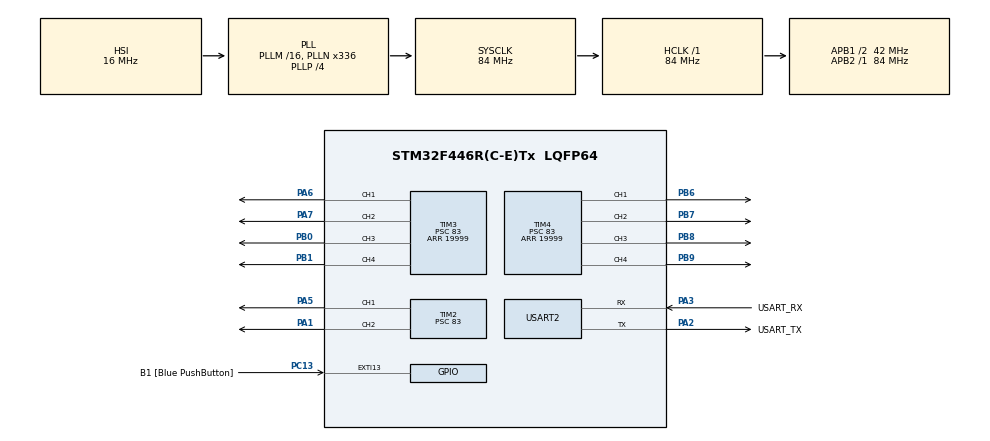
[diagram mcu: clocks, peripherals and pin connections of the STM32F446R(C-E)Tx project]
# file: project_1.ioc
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Dma.Request0=USART2_RX
Dma.USART2_RX.0.Direction=DMA_PERIPH_TO_MEMORY
Dma.USART2_RX.0.FIFOMode=DMA_FIFOMODE_DISABLE
Dma.USART2_RX.0.Instance=DMA1_Stream5
Dma.USART2_RX.0.MemDataAlignment=DMA_MDATAALIGN_BYTE
Dma.USART2_RX.0.MemInc=DMA_MINC_ENABLE
Dma.USART2_RX.0.Mode=DMA_NORMAL
Dma.USART2_RX.0.PeriphDataAlignment=DMA_PDATAALIGN_BYTE
Dma.USART2_RX.0.PeriphInc=DMA_PINC_DISABLE
Dma.USART2_RX.0.Priority=DMA_PRIORITY_HIGH
Mcu.Family=STM32F4
Mcu.Name=STM32F446R(C-E)Tx
Mcu.Package=LQFP64
NVIC.DMA1_Stream5_IRQn=true\:0\:0\:false\:false\:true\:false\:true\:true
NVIC.EXTI15_10_IRQn=true\:0\:0\:false\:false\:true\:true\:true\:true
NVIC.PriorityGroup=NVIC_PRIORITYGROUP_0
NVIC.USART2_IRQn=true\:0\:0\:false\:false\:true\:true\:true\:true
PA1.Signal=S_TIM2_CH2
PA13.GPIO_Label=TMS
PA13.Signal=SYS_JTMS-SWDIO
PA14.GPIO_Label=TCK
PA14.Signal=SYS_JTCK-SWCLK
PA2.GPIO_Label=USART_TX
PA2.Mode=Asynchronous
PA2.Signal=USART2_TX
PA3.GPIO_Label=USART_RX
PA3.Mode=Asynchronous
PA3.Signal=USART2_RX
PA5.Signal=S_TIM2_CH1_ETR
PA6.Signal=S_TIM3_CH1
PA7.Signal=S_TIM3_CH2
PB0.Signal=S_TIM3_CH3
PB1.Signal=S_TIM3_CH4
PB6.Signal=S_TIM4_CH1
PB7.Signal=S_TIM4_CH2
PB8.Signal=S_TIM4_CH3
PB9.Signal=S_TIM4_CH4
PC13.GPIO_Label=B1 [Blue PushButton]
PC13.GPIO_ModeDefaultEXTI=GPIO_MODE_IT_FALLING
PC13.Signal=GPXTI13
PC14-OSC32_IN.Signal=RCC_OSC32_IN
PC15-OSC32_OUT.Signal=RCC_OSC32_OUT
PH0-OSC_IN.Signal=RCC_OSC_IN
PH1-OSC_OUT.Signal=RCC_OSC_OUT
ProjectManager.HeapSize=0x200
ProjectManager.StackSize=0x400
ProjectManager.TargetToolchain=CMake
RCC.AHBFreq_Value=84000000
RCC.APB1CLKDivider=RCC_HCLK_DIV2
RCC.APB1Freq_Value=42000000
RCC.APB1TimFreq_Value=84000000
RCC.APB2Freq_Value=84000000
RCC.APB2TimFreq_Value=84000000
RCC.CortexFreq_Value=84000000
RCC.FLatency-AdvancedSettings=FLASH_LATENCY_2
RCC.HCLKFreq_Value=84000000
RCC.HSE_VALUE=8000000
RCC.HSI_VALUE=16000000
RCC.LSE_VALUE=32768
RCC.PLLN=336
RCC.PLLP=RCC_PLLP_DIV4
RCC.SYSCLKFreq_VALUE=84000000
RCC.SYSCLKSource=RCC_SYSCLKSOURCE_PLLCLK
RCC.USBFreq_Value=168000000
RCC.VCOOutputFreq_Value=336000000
SH.S_TIM2_CH1_ETR.0=TIM2_CH1,PWM Generation1 CH1
SH.S_TIM2_CH2.0=TIM2_CH2,PWM Generation2 CH2
SH.S_TIM3_CH1.0=TIM3_CH1,PWM Generation1 CH1
SH.S_TIM3_CH2.0=TIM3_CH2,PWM Generation2 CH2
SH.S_TIM3_CH3.0=TIM3_CH3,PWM Generation3 CH3
SH.S_TIM3_CH4.0=TIM3_CH4,PWM Generation4 CH4
SH.S_TIM4_CH1.0=TIM4_CH1,PWM Generation1 CH1
SH.S_TIM4_CH2.0=TIM4_CH2,PWM Generation2 CH2
SH.S_TIM4_CH3.0=TIM4_CH3,PWM Generation3 CH3
SH.S_TIM4_CH4.0=TIM4_CH4,PWM Generation4 CH4
TIM2.Channel-PWM\ Generation1\ CH1=TIM_CHANNEL_1
TIM2.Channel-PWM\ Generation2\ CH2=TIM_CHANNEL_2
TIM2.Period=19999
TIM2.Prescaler=83
TIM3.Channel-PWM\ Generation1\ CH1=TIM_CHANNEL_1
TIM3.Channel-PWM\ Generation2\ CH2=TIM_CHANNEL_2
TIM3.Channel-PWM\ Generation3\ CH3=TIM_CHANNEL_3
TIM3.Channel-PWM\ Generation4\ CH4=TIM_CHANNEL_4
TIM3.Period=19999
TIM3.Prescaler=83
TIM4.Channel-PWM\ Generation1\ CH1=TIM_CHANNEL_1
TIM4.Channel-PWM\ Generation2\ CH2=TIM_CHANNEL_2
TIM4.Channel-PWM\ Generation3\ CH3=TIM_CHANNEL_3
TIM4.Channel-PWM\ Generation4\ CH4=TIM_CHANNEL_4
TIM4.Period=19999
TIM4.Prescaler=83
USART2.VirtualMode=VM_ASYNC
VP_TIM2_VS_ClockSourceINT.Mode=Internal
VP_TIM3_VS_ClockSourceINT.Mode=Internal
VP_TIM4_VS_ClockSourceINT.Mode=Internal
board=NUCLEO-F446RE

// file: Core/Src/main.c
/* USER CODE BEGIN Header */
/**
  ******************************************************************************
  * @file           : main.c
  * @brief          : Main program body
  ******************************************************************************
  * @attention
  *
  * Copyright (c) 2026 STMicroelectronics.
  * All rights reserved.
  *
  * This software is licensed under terms that can be found in the LICENSE file
  * in the root directory of this software component.
  * If no LICENSE file comes with this software, it is provided AS-IS.
  *
  ******************************************************************************
  */
/* USER CODE END Header */
#include "main.h"

/* USER CODE BEGIN Includes */
#include <stdint.h>
#include <string.h>
#include <stdio.h>
/* USER CODE END Includes */

/* USER CODE BEGIN PTD */
typedef struct {
  TIM_HandleTypeDef *htim;
  uint32_t channel;
  const char *pin_label;
} pwm_output_t;
/* USER CODE END PTD */

/* USER CODE BEGIN PD */
#define NUM_JOINTS 2
#define MAX_JOINTS 10
#define MIN_CCR 0
#define MAX_CCR 5000
#define PAYLOAD_SIZE (NUM_JOINTS * sizeof(float))
#define PACKET_SIZE  (2 + PAYLOAD_SIZE)

#define PI       3.14159265f
#define HALF_PI  1.57079633f
/* USER CODE END PD */

TIM_HandleTypeDef htim2;
TIM_HandleTypeDef htim3;
TIM_HandleTypeDef htim4;

UART_HandleTypeDef huart2;
DMA_HandleTypeDef hdma_usart2_rx;

/* USER CODE BEGIN PV */
static uint8_t  rx_packet[PACKET_SIZE];
static float    joint_angles[NUM_JOINTS];
// static uint32_t joint_ccr[NUM_JOINTS];
static volatile uint8_t packet_ready = 0;
static volatile uint32_t packet_count = 0;
static volatile uint32_t sync_error_count = 0;

static const pwm_output_t joint_pwm[MAX_JOINTS] = {
  { &htim2, TIM_CHANNEL_1, "PA5 (LD2 debug)" },
  { &htim2, TIM_CHANNEL_2, "PA1 (Arduino A1)" },
  { &htim3, TIM_CHANNEL_1, "PA6 (Arduino D12)" },
  { &htim3, TIM_CHANNEL_2, "PA7 (Arduino D11)" },
  { &htim3, TIM_CHANNEL_3, "PB0 (Arduino A3)" },
  { &htim3, TIM_CHANNEL_4, "PB1" },
  { &htim4, TIM_CHANNEL_1, "PB6 (Arduino D10)" },
  { &htim4, TIM_CHANNEL_2, "PB7" },
  { &htim4, TIM_CHANNEL_3, "PB8 (Arduino D15)" },
  { &htim4, TIM_CHANNEL_4, "PB9 (Arduino D14)" },
};
/* USER CODE END PV */

void SystemClock_Config(void);
static void MX_GPIO_Init(void);
static void MX_DMA_Init(void);
static void MX_USART2_UART_Init(void);
static void MX_TIM2_Init(void);
static void MX_TIM3_Init(void);
static void MX_TIM4_Init(void);
/* USER CODE BEGIN PFP */
static uint8_t  verify_packet(const uint8_t *packet);
static void handle_packet(void);
static inline void joint_action(void);
static inline uint32_t radian_ccr(float radian);
/* USER CODE END PFP */

int main(void)
{

  /* MCU Configuration--------------------------------------------------------*/

  /* Reset of all peripherals, Initializes the Flash interface and the Systick. */
  HAL_Init();

  /* Configure the system clock */
  SystemClock_Config();

  /* Initialize all configured peripherals */
  MX_GPIO_Init();
  MX_DMA_Init();
  MX_USART2_UART_Init();
  MX_TIM2_Init();
  MX_TIM3_Init();
  MX_TIM4_Init();
  /* USER CODE BEGIN 2 */
  static uint8_t init_msg[] = "Angle Server Initialized\r\n";
  HAL_UART_Transmit(&huart2, init_msg, sizeof(init_msg) -1, HAL_MAX_DELAY);

  for (int i = 0; i < NUM_JOINTS; i++) {
    HAL_TIM_PWM_Start(joint_pwm[i].htim, joint_pwm[i].channel);
  }

  HAL_UART_Receive_DMA(&huart2, rx_packet, PACKET_SIZE);
  /* USER CODE END 2 */

  /* Infinite loop */
  /* USER CODE BEGIN WHILE */
  while (1)
  {

    if(packet_ready == 1)
    {
      packet_ready = 0;
      handle_packet();
      joint_action();
      HAL_UART_Receive_DMA(&huart2, rx_packet, PACKET_SIZE);
    }

    /* USER CODE END WHILE */

    /* USER CODE BEGIN 3 */
    // HAL_GPIO_WritePin(TRANSITOR_GPIO_Port, TRANSITOR_Pin, GPIO_PIN_SET);

    // HAL_Delay(2000);

    // HAL_GPIO_WritePin(TRANSITOR_GPIO_Port, TRANSITOR_Pin, GPIO_PIN_RESET);

    // HAL_Delay(2000);
  }
  /* USER CODE END 3 */
}

void SystemClock_Config(void)
{
  RCC_OscInitTypeDef RCC_OscInitStruct = {0};
  RCC_ClkInitTypeDef RCC_ClkInitStruct = {0};

  /** Configure the main internal regulator output voltage
  */
  __HAL_RCC_PWR_CLK_ENABLE();
  __HAL_PWR_VOLTAGESCALING_CONFIG(PWR_REGULATOR_VOLTAGE_SCALE3);

  /** Initializes the RCC Oscillators according to the specified parameters
  * in the RCC_OscInitTypeDef structure.
  */
  RCC_OscInitStruct.OscillatorType = RCC_OSCILLATORTYPE_HSI;
  RCC_OscInitStruct.HSIState = RCC_HSI_ON;
  RCC_OscInitStruct.HSICalibrationValue = RCC_HSICALIBRATION_DEFAULT;
  RCC_OscInitStruct.PLL.PLLState = RCC_PLL_ON;
  RCC_OscInitStruct.PLL.PLLSource = RCC_PLLSOURCE_HSI;
  RCC_OscInitStruct.PLL.PLLM = 16;
  RCC_OscInitStruct.PLL.PLLN = 336;
  RCC_OscInitStruct.PLL.PLLP = RCC_PLLP_DIV4;
  RCC_OscInitStruct.PLL.PLLQ = 2;
  RCC_OscInitStruct.PLL.PLLR = 2;
  if (HAL_RCC_OscConfig(&RCC_OscInitStruct) != HAL_OK)
  {
    Error_Handler();
  }

  /** Initializes the CPU, AHB and APB buses clocks
  */
  RCC_ClkInitStruct.ClockType = RCC_CLOCKTYPE_HCLK|RCC_CLOCKTYPE_SYSCLK
                              |RCC_CLOCKTYPE_PCLK1|RCC_CLOCKTYPE_PCLK2;
  RCC_ClkInitStruct.SYSCLKSource = RCC_SYSCLKSOURCE_PLLCLK;
  RCC_ClkInitStruct.AHBCLKDivider = RCC_SYSCLK_DIV1;
  RCC_ClkInitStruct.APB1CLKDivider = RCC_HCLK_DIV2;
  RCC_ClkInitStruct.APB2CLKDivider = RCC_HCLK_DIV1;

  if (HAL_RCC_ClockConfig(&RCC_ClkInitStruct, FLASH_LATENCY_2) != HAL_OK)
  {
    Error_Handler();
  }
}

static void MX_TIM2_Init(void)
{

  TIM_ClockConfigTypeDef sClockSourceConfig = {0};
  TIM_MasterConfigTypeDef sMasterConfig = {0};
  TIM_OC_InitTypeDef sConfigOC = {0};

  htim2.Instance = TIM2;
  htim2.Init.Prescaler = 83;
  htim2.Init.CounterMode = TIM_COUNTERMODE_UP;
  htim2.Init.Period = 19999;
  htim2.Init.ClockDivision = TIM_CLOCKDIVISION_DIV1;
  htim2.Init.AutoReloadPreload = TIM_AUTORELOAD_PRELOAD_DISABLE;
  if (HAL_TIM_Base_Init(&htim2) != HAL_OK)
  {
    Error_Handler();
  }
  sClockSourceConfig.ClockSource = TIM_CLOCKSOURCE_INTERNAL;
  if (HAL_TIM_ConfigClockSource(&htim2, &sClockSourceConfig) != HAL_OK)
  {
    Error_Handler();
  }
  if (HAL_TIM_PWM_Init(&htim2) != HAL_OK)
  {
    Error_Handler();
  }
  sMasterConfig.MasterOutputTrigger = TIM_TRGO_RESET;
  sMasterConfig.MasterSlaveMode = TIM_MASTERSLAVEMODE_DISABLE;
  if (HAL_TIMEx_MasterConfigSynchronization(&htim2, &sMasterConfig) != HAL_OK)
  {
    Error_Handler();
  }
  sConfigOC.OCMode = TIM_OCMODE_PWM1;
  sConfigOC.Pulse = 0;
  sConfigOC.OCPolarity = TIM_OCPOLARITY_HIGH;
  sConfigOC.OCFastMode = TIM_OCFAST_DISABLE;
  if (HAL_TIM_PWM_ConfigChannel(&htim2, &sConfigOC, TIM_CHANNEL_1) != HAL_OK)
  {
    Error_Handler();
  }
  if (HAL_TIM_PWM_ConfigChannel(&htim2, &sConfigOC, TIM_CHANNEL_2) != HAL_OK)
  {
    Error_Handler();
  }
  HAL_TIM_MspPostInit(&htim2);

}

static void MX_TIM3_Init(void)
{

  TIM_ClockConfigTypeDef sClockSourceConfig = {0};
  TIM_MasterConfigTypeDef sMasterConfig = {0};
  TIM_OC_InitTypeDef sConfigOC = {0};

  htim3.Instance = TIM3;
  htim3.Init.Prescaler = 83;
  htim3.Init.CounterMode = TIM_COUNTERMODE_UP;
  htim3.Init.Period = 19999;
  htim3.Init.ClockDivision = TIM_CLOCKDIVISION_DIV1;
  htim3.Init.AutoReloadPreload = TIM_AUTORELOAD_PRELOAD_DISABLE;
  if (HAL_TIM_Base_Init(&htim3) != HAL_OK)
  {
    Error_Handler();
  }
  sClockSourceConfig.ClockSource = TIM_CLOCKSOURCE_INTERNAL;
  if (HAL_TIM_ConfigClockSource(&htim3, &sClockSourceConfig) != HAL_OK)
  {
    Error_Handler();
  }
  if (HAL_TIM_PWM_Init(&htim3) != HAL_OK)
  {
    Error_Handler();
  }
  sMasterConfig.MasterOutputTrigger = TIM_TRGO_RESET;
  sMasterConfig.MasterSlaveMode = TIM_MASTERSLAVEMODE_DISABLE;
  if (HAL_TIMEx_MasterConfigSynchronization(&htim3, &sMasterConfig) != HAL_OK)
  {
    Error_Handler();
  }
  sConfigOC.OCMode = TIM_OCMODE_PWM1;
  sConfigOC.Pulse = 0;
  sConfigOC.OCPolarity = TIM_OCPOLARITY_HIGH;
  sConfigOC.OCFastMode = TIM_OCFAST_DISABLE;
  if (HAL_TIM_PWM_ConfigChannel(&htim3, &sConfigOC, TIM_CHANNEL_1) != HAL_OK)
  {
    Error_Handler();
  }
  if (HAL_TIM_PWM_ConfigChannel(&htim3, &sConfigOC, TIM_CHANNEL_2) != HAL_OK)
  {
    Error_Handler();
  }
  if (HAL_TIM_PWM_ConfigChannel(&htim3, &sConfigOC, TIM_CHANNEL_3) != HAL_OK)
  {
    Error_Handler();
  }
  if (HAL_TIM_PWM_ConfigChannel(&htim3, &sConfigOC, TIM_CHANNEL_4) != HAL_OK)
  {
    Error_Handler();
  }
  HAL_TIM_MspPostInit(&htim3);

}

static void MX_TIM4_Init(void)
{

  TIM_ClockConfigTypeDef sClockSourceConfig = {0};
  TIM_MasterConfigTypeDef sMasterConfig = {0};
  TIM_OC_InitTypeDef sConfigOC = {0};

  htim4.Instance = TIM4;
  htim4.Init.Prescaler = 83;
  htim4.Init.CounterMode = TIM_COUNTERMODE_UP;
  htim4.Init.Period = 19999;
  htim4.Init.ClockDivision = TIM_CLOCKDIVISION_DIV1;
  htim4.Init.AutoReloadPreload = TIM_AUTORELOAD_PRELOAD_DISABLE;
  if (HAL_TIM_Base_Init(&htim4) != HAL_OK)
  {
    Error_Handler();
  }
  sClockSourceConfig.ClockSource = TIM_CLOCKSOURCE_INTERNAL;
  if (HAL_TIM_ConfigClockSource(&htim4, &sClockSourceConfig) != HAL_OK)
  {
    Error_Handler();
  }
  if (HAL_TIM_PWM_Init(&htim4) != HAL_OK)
  {
    Error_Handler();
  }
  sMasterConfig.MasterOutputTrigger = TIM_TRGO_RESET;
  sMasterConfig.MasterSlaveMode = TIM_MASTERSLAVEMODE_DISABLE;
  if (HAL_TIMEx_MasterConfigSynchronization(&htim4, &sMasterConfig) != HAL_OK)
  {
    Error_Handler();
  }
  sConfigOC.OCMode = TIM_OCMODE_PWM1;
  sConfigOC.Pulse = 0;
  sConfigOC.OCPolarity = TIM_OCPOLARITY_HIGH;
  sConfigOC.OCFastMode = TIM_OCFAST_DISABLE;
  if (HAL_TIM_PWM_ConfigChannel(&htim4, &sConfigOC, TIM_CHANNEL_1) != HAL_OK)
  {
    Error_Handler();
  }
  if (HAL_TIM_PWM_ConfigChannel(&htim4, &sConfigOC, TIM_CHANNEL_2) != HAL_OK)
  {
    Error_Handler();
  }
  if (HAL_TIM_PWM_ConfigChannel(&htim4, &sConfigOC, TIM_CHANNEL_3) != HAL_OK)
  {
    Error_Handler();
  }
  if (HAL_TIM_PWM_ConfigChannel(&htim4, &sConfigOC, TIM_CHANNEL_4) != HAL_OK)
  {
    Error_Handler();
  }
  HAL_TIM_MspPostInit(&htim4);

}

static void MX_USART2_UART_Init(void)
{

  huart2.Instance = USART2;
  huart2.Init.BaudRate = 115200;
  huart2.Init.WordLength = UART_WORDLENGTH_8B;
  huart2.Init.StopBits = UART_STOPBITS_1;
  huart2.Init.Parity = UART_PARITY_NONE;
  huart2.Init.Mode = UART_MODE_TX_RX;
  huart2.Init.HwFlowCtl = UART_HWCONTROL_NONE;
  huart2.Init.OverSampling = UART_OVERSAMPLING_16;
  if (HAL_UART_Init(&huart2) != HAL_OK)
  {
    Error_Handler();
  }

}

static void MX_DMA_Init(void)
{

  /* DMA controller clock enable */
  __HAL_RCC_DMA1_CLK_ENABLE();

  /* DMA interrupt init */
  /* DMA1_Stream5_IRQn interrupt configuration */
  HAL_NVIC_SetPriority(DMA1_Stream5_IRQn, 0, 0);
  HAL_NVIC_EnableIRQ(DMA1_Stream5_IRQn);

}

static void MX_GPIO_Init(void)
{
  GPIO_InitTypeDef GPIO_InitStruct = {0};

  /* GPIO Ports Clock Enable */
  __HAL_RCC_GPIOC_CLK_ENABLE();
  __HAL_RCC_GPIOH_CLK_ENABLE();
  __HAL_RCC_GPIOA_CLK_ENABLE();
  __HAL_RCC_GPIOB_CLK_ENABLE();

  /*Configure GPIO pin : B1_Pin */
  GPIO_InitStruct.Pin = B1_Pin;
  GPIO_InitStruct.Mode = GPIO_MODE_IT_FALLING;
  GPIO_InitStruct.Pull = GPIO_NOPULL;
  HAL_GPIO_Init(B1_GPIO_Port, &GPIO_InitStruct);

  /* EXTI interrupt init*/
  HAL_NVIC_SetPriority(EXTI15_10_IRQn, 0, 0);
  HAL_NVIC_EnableIRQ(EXTI15_10_IRQn);

}

/* USER CODE BEGIN 4 */
void HAL_GPIO_EXTI_Callback(uint16_t GPIO_Pin)
{
    if (GPIO_Pin == B1_Pin)
    {

    }
}

void HAL_UART_RxCpltCallback(UART_HandleTypeDef *huart)
{
  if(huart == &huart2)
  {
    packet_ready = 1;
  }
}

static void handle_packet(void)
{
  if (!verify_packet(rx_packet))
  {
    sync_error_count++;
    return;
  }

  memcpy(joint_angles,&rx_packet[2],PAYLOAD_SIZE);
  packet_count++;

}

static inline uint32_t radian_ccr(float radian)
{
  if (radian < -HALF_PI) radian = -HALF_PI;
  if (radian >  HALF_PI) radian =  HALF_PI;

  float norm = (radian + HALF_PI) / PI;
  return MIN_CCR + (uint32_t)(norm * (MAX_CCR - MIN_CCR) + 0.5f);
}

static inline void joint_action(void)
{
  // char msg[64] = "";
  // char temp[5];
  for(int i=0; i< NUM_JOINTS;i++)
  {

    uint32_t ccr = radian_ccr(joint_angles[i]);
    __HAL_TIM_SET_COMPARE(joint_pwm[i].htim, joint_pwm[i].channel, ccr);
    // sprintf(temp, "%u ", ccr);
    // strcat(msg, temp);
  }
  // strcat(msg,"\r\n");
  // HAL_UART_Transmit(&huart2, (uint8_t*)msg, strlen(msg), HAL_MAX_DELAY);

}

static uint8_t verify_packet(const uint8_t *packet)
{
    return (packet[0] == 0xAA && packet[1] == 0x55) ? 1 : 0;
}

/* USER CODE END 4 */

void Error_Handler(void)
{
  __disable_irq();
  while (1)
  {
  }
}
